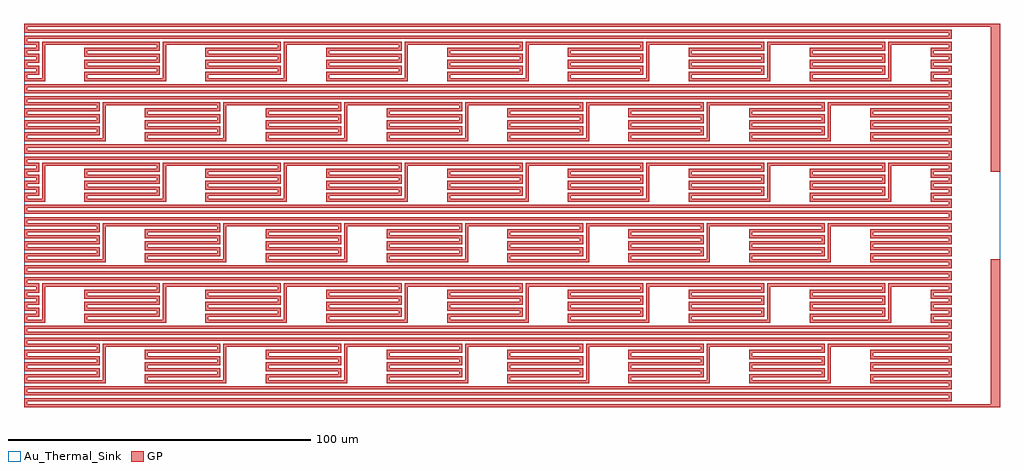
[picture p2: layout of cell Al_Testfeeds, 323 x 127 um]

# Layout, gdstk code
import gdstk
lib = gdstk.Library(unit=1e-6, precision=1e-09)
def R(c, l, rs):  # rectangles x0, y0, x1, y1
    for r in rs: c.add(gdstk.rectangle(r[:2], r[2:], *l))
def P(c, l, *ps):  # polygons
    for p in ps: c.add(gdstk.Polygon(p, *l))
GP = (3, 0)
Au_Thermal_Sink = (12, 0)

al_testfeeds = lib.new_cell('Al_Testfeeds')
R(al_testfeeds, GP, [(172.523,-65.798,190.523,-64.798), (187.523,-65.298,190.523,-16.798), (187.523,12.202,190.523,60.702), (172.523,60.202,190.523,61.202)])
P(al_testfeeds, GP, [(-132.477,-65.798),(-132.477,-62.798),(173.523,-62.798),(173.523,-61.798),(-132.477,-61.798),(-132.477,-58.798),(173.523,-58.798),(173.523,-57.798),(147.523,-57.798),(147.523,-54.798),(173.523,-54.798),(173.523,-53.798),(147.523,-53.798),(147.523,-50.798),(173.523,-50.798),(173.523,-49.798),(147.523,-49.798),(147.523,-46.798),(173.523,-46.798),(173.523,-45.798),(134.523,-45.798),(134.523,-57.798),(107.523,-57.798),(107.523,-54.798),(131.523,-54.798),(131.523,-53.798),(107.523,-53.798),(107.523,-50.798),(131.523,-50.798),(131.523,-49.798),(107.523,-49.798),(107.523,-46.798),(131.523,-46.798),(131.523,-45.798),(94.523,-45.798),(94.523,-57.798),(67.523,-57.798),(67.523,-54.798),(91.523,-54.798),(91.523,-53.798),(67.523,-53.798),(67.523,-50.798),(91.523,-50.798),(91.523,-49.798),(67.523,-49.798),(67.523,-46.798),(91.523,-46.798),(91.523,-45.798),(54.523,-45.798),(54.523,-57.798),(27.523,-57.798),(27.523,-54.798),(51.523,-54.798),(51.523,-53.798),(27.523,-53.798),(27.523,-50.798),(51.523,-50.798),(51.523,-49.798),(27.523,-49.798),(27.523,-46.798),(51.523,-46.798),(51.523,-45.798),(14.523,-45.798),(14.523,-57.798),(-12.477,-57.798),(-12.477,-54.798),(11.523,-54.798),(11.523,-53.798),(-12.477,-53.798),(-12.477,-50.798),(11.523,-50.798),(11.523,-49.798),(-12.477,-49.798),(-12.477,-46.798),(11.523,-46.798),(11.523,-45.798),(-25.477,-45.798),(-25.477,-57.798),(-52.477,-57.798),(-52.477,-54.798),(-28.477,-54.798),(-28.477,-53.798),(-52.477,-53.798),(-52.477,-50.798),(-28.477,-50.798),(-28.477,-49.798),(-52.477,-49.798),(-52.477,-46.798),(-28.477,-46.798),(-28.477,-45.798),(-65.477,-45.798),(-65.477,-57.798),(-92.477,-57.798),(-92.477,-54.798),(-68.477,-54.798),(-68.477,-53.798),(-92.477,-53.798),(-92.477,-50.798),(-68.477,-50.798),(-68.477,-49.798),(-92.477,-49.798),(-92.477,-46.798),(-68.477,-46.798),(-68.477,-45.798),(-105.477,-45.798),(-105.477,-57.798),(-132.477,-57.798),(-132.477,-54.798),(-108.477,-54.798),(-108.477,-53.798),(-132.477,-53.798),(-132.477,-50.798),(-108.477,-50.798),(-108.477,-49.798),(-132.477,-49.798),(-132.477,-46.798),(-108.477,-46.798),(-108.477,-45.798),(-132.477,-45.798),(-132.477,-42.798),(173.523,-42.798),(173.523,-41.798),(-132.477,-41.798),(-132.477,-38.798),(173.523,-38.798),(173.523,-37.798),(167.523,-37.798),(167.523,-34.798),(173.523,-34.798),(173.523,-33.798),(167.523,-33.798),(167.523,-30.798),(173.523,-30.798),(173.523,-29.798),(167.523,-29.798),(167.523,-26.798),(173.523,-26.798),(173.523,-25.798),(154.523,-25.798),(154.523,-37.798),(127.523,-37.798),(127.523,-34.798),(151.523,-34.798),(151.523,-33.798),(127.523,-33.798),(127.523,-30.798),(151.523,-30.798),(151.523,-29.798),(127.523,-29.798),(127.523,-26.798),(151.523,-26.798),(151.523,-25.798),(114.523,-25.798),(114.523,-37.798),(87.523,-37.798),(87.523,-34.798),(111.523,-34.798),(111.523,-33.798),(87.523,-33.798),(87.523,-30.798),(111.523,-30.798),(111.523,-29.798),(87.523,-29.798),(87.523,-26.798),(111.523,-26.798),(111.523,-25.798),(74.523,-25.798),(74.523,-37.798),(47.523,-37.798),(47.523,-34.798),(71.523,-34.798),(71.523,-33.798),(47.523,-33.798),(47.523,-30.798),(71.523,-30.798),(71.523,-29.798),(47.523,-29.798),(47.523,-26.798),(71.523,-26.798),(71.523,-25.798),(34.523,-25.798),(34.523,-37.798),(7.523,-37.798),(7.523,-34.798),(31.523,-34.798),(31.523,-33.798),(7.523,-33.798),(7.523,-30.798),(31.523,-30.798),(31.523,-29.798),(7.523,-29.798),(7.523,-26.798),(31.523,-26.798),(31.523,-25.798),(-5.477,-25.798),(-5.477,-37.798),(-32.477,-37.798),(-32.477,-34.798),(-8.477,-34.798),(-8.477,-33.798),(-32.477,-33.798),(-32.477,-30.798),(-8.477,-30.798),(-8.477,-29.798),(-32.477,-29.798),(-32.477,-26.798),(-8.477,-26.798),(-8.477,-25.798),(-45.477,-25.798),(-45.477,-37.798),(-72.477,-37.798),(-72.477,-34.798),(-48.477,-34.798),(-48.477,-33.798),(-72.477,-33.798),(-72.477,-30.798),(-48.477,-30.798),(-48.477,-29.798),(-72.477,-29.798),(-72.477,-26.798),(-48.477,-26.798),(-48.477,-25.798),(-85.477,-25.798),(-85.477,-37.798),(-112.477,-37.798),(-112.477,-34.798),(-88.477,-34.798),(-88.477,-33.798),(-112.477,-33.798),(-112.477,-30.798),(-88.477,-30.798),(-88.477,-29.798),(-112.477,-29.798),(-112.477,-26.798),(-88.477,-26.798),(-88.477,-25.798),(-125.477,-25.798),(-125.477,-37.798),(-132.477,-37.798),(-132.477,-34.798),(-128.477,-34.798),(-128.477,-33.798),(-132.477,-33.798),(-132.477,-30.798),(-128.477,-30.798),(-128.477,-29.798),(-132.477,-29.798),(-132.477,-26.798),(-128.477,-26.798),(-128.477,-25.798),(-132.477,-25.798),(-132.477,-22.798),(173.523,-22.798),(173.523,-21.798),(-132.477,-21.798),(-132.477,-18.798),(173.523,-18.798),(173.523,-17.798),(147.523,-17.798),(147.523,-14.798),(173.523,-14.798),(173.523,-13.798),(147.523,-13.798),(147.523,-10.798),(173.523,-10.798),(173.523,-9.798),(147.523,-9.798),(147.523,-6.798),(173.523,-6.798),(173.523,-5.798),(134.523,-5.798),(134.523,-17.798),(107.523,-17.798),(107.523,-14.798),(131.523,-14.798),(131.523,-13.798),(107.523,-13.798),(107.523,-10.798),(131.523,-10.798),(131.523,-9.798),(107.523,-9.798),(107.523,-6.798),(131.523,-6.798),(131.523,-5.798),(94.523,-5.798),(94.523,-17.798),(67.523,-17.798),(67.523,-14.798),(91.523,-14.798),(91.523,-13.798),(67.523,-13.798),(67.523,-10.798),(91.523,-10.798),(91.523,-9.798),(67.523,-9.798),(67.523,-6.798),(91.523,-6.798),(91.523,-5.798),(54.523,-5.798),(54.523,-17.798),(27.523,-17.798),(27.523,-14.798),(51.523,-14.798),(51.523,-13.798),(27.523,-13.798),(27.523,-10.798),(51.523,-10.798),(51.523,-9.798),(27.523,-9.798),(27.523,-6.798),(51.523,-6.798),(51.523,-5.798),(14.523,-5.798),(14.523,-17.798),(-12.477,-17.798),(-12.477,-14.798),(11.523,-14.798),(11.523,-13.798),(-12.477,-13.798),(-12.477,-10.798),(11.523,-10.798),(11.523,-9.798),(-12.477,-9.798),(-12.477,-6.798),(11.523,-6.798),(11.523,-5.798),(-25.477,-5.798),(-25.477,-17.798),(-52.477,-17.798),(-52.477,-14.798),(-28.477,-14.798),(-28.477,-13.798),(-52.477,-13.798),(-52.477,-10.798),(-28.477,-10.798),(-28.477,-9.798),(-52.477,-9.798),(-52.477,-6.798),(-28.477,-6.798),(-28.477,-5.798),(-65.477,-5.798),(-65.477,-17.798),(-92.477,-17.798),(-92.477,-14.798),(-68.477,-14.798),(-68.477,-13.798),(-92.477,-13.798),(-92.477,-10.798),(-68.477,-10.798),(-68.477,-9.798),(-92.477,-9.798),(-92.477,-6.798),(-68.477,-6.798),(-68.477,-5.798),(-105.477,-5.798),(-105.477,-17.798),(-132.477,-17.798),(-132.477,-14.798),(-108.477,-14.798),(-108.477,-13.798),(-132.477,-13.798),(-132.477,-10.798),(-108.477,-10.798),(-108.477,-9.798),(-132.477,-9.798),(-132.477,-6.798),(-108.477,-6.798),(-108.477,-5.798),(-132.477,-5.798),(-132.477,-2.798),(173.523,-2.798),(173.523,-1.798),(-132.477,-1.798),(-132.477,1.202),(173.523,1.202),(173.523,2.202),(167.523,2.202),(167.523,5.202),(173.523,5.202),(173.523,6.202),(167.523,6.202),(167.523,9.202),(173.523,9.202),(173.523,10.202),(167.523,10.202),(167.523,13.202),(173.523,13.202),(173.523,14.202),(154.523,14.202),(154.523,2.202),(127.523,2.202),(127.523,5.202),(151.523,5.202),(151.523,6.202),(127.523,6.202),(127.523,9.202),(151.523,9.202),(151.523,10.202),(127.523,10.202),(127.523,13.202),(151.523,13.202),(151.523,14.202),(114.523,14.202),(114.523,2.202),(87.523,2.202),(87.523,5.202),(111.523,5.202),(111.523,6.202),(87.523,6.202),(87.523,9.202),(111.523,9.202),(111.523,10.202),(87.523,10.202),(87.523,13.202),(111.523,13.202),(111.523,14.202),(74.523,14.202),(74.523,2.202),(47.523,2.202),(47.523,5.202),(71.523,5.202),(71.523,6.202),(47.523,6.202),(47.523,9.202),(71.523,9.202),(71.523,10.202),(47.523,10.202),(47.523,13.202),(71.523,13.202),(71.523,14.202),(34.523,14.202),(34.523,2.202),(7.523,2.202),(7.523,5.202),(31.523,5.202),(31.523,6.202),(7.523,6.202),(7.523,9.202),(31.523,9.202),(31.523,10.202),(7.523,10.202),(7.523,13.202),(31.523,13.202),(31.523,14.202),(-5.477,14.202),(-5.477,2.202),(-32.477,2.202),(-32.477,5.202),(-8.477,5.202),(-8.477,6.202),(-32.477,6.202),(-32.477,9.202),(-8.477,9.202),(-8.477,10.202),(-32.477,10.202),(-32.477,13.202),(-8.477,13.202),(-8.477,14.202),(-45.477,14.202),(-45.477,2.202),(-72.477,2.202),(-72.477,5.202),(-48.477,5.202),(-48.477,6.202),(-72.477,6.202),(-72.477,9.202),(-48.477,9.202),(-48.477,10.202),(-72.477,10.202),(-72.477,13.202),(-48.477,13.202),(-48.477,14.202),(-85.477,14.202),(-85.477,2.202),(-112.477,2.202),(-112.477,5.202),(-88.477,5.202),(-88.477,6.202),(-112.477,6.202),(-112.477,9.202),(-88.477,9.202),(-88.477,10.202),(-112.477,10.202),(-112.477,13.202),(-88.477,13.202),(-88.477,14.202),(-125.477,14.202),(-125.477,2.202),(-132.477,2.202),(-132.477,5.202),(-128.477,5.202),(-128.477,6.202),(-132.477,6.202),(-132.477,9.202),(-128.477,9.202),(-128.477,10.202),(-132.477,10.202),(-132.477,13.202),(-128.477,13.202),(-128.477,14.202),(-132.477,14.202),(-132.477,17.202),(173.523,17.202),(173.523,18.202),(-132.477,18.202),(-132.477,21.202),(173.523,21.202),(173.523,22.202),(147.523,22.202),(147.523,25.202),(173.523,25.202),(173.523,26.202),(147.523,26.202),(147.523,29.202),(173.523,29.202),(173.523,30.202),(147.523,30.202),(147.523,33.202),(173.523,33.202),(173.523,34.202),(134.523,34.202),(134.523,22.202),(107.523,22.202),(107.523,25.202),(131.523,25.202),(131.523,26.202),(107.523,26.202),(107.523,29.202),(131.523,29.202),(131.523,30.202),(107.523,30.202),(107.523,33.202),(131.523,33.202),(131.523,34.202),(94.523,34.202),(94.523,22.202),(67.523,22.202),(67.523,25.202),(91.523,25.202),(91.523,26.202),(67.523,26.202),(67.523,29.202),(91.523,29.202),(91.523,30.202),(67.523,30.202),(67.523,33.202),(91.523,33.202),(91.523,34.202),(54.523,34.202),(54.523,22.202),(27.523,22.202),(27.523,25.202),(51.523,25.202),(51.523,26.202),(27.523,26.202),(27.523,29.202),(51.523,29.202),(51.523,30.202),(27.523,30.202),(27.523,33.202),(51.523,33.202),(51.523,34.202),(14.523,34.202),(14.523,22.202),(-12.477,22.202),(-12.477,25.202),(11.523,25.202),(11.523,26.202),(-12.477,26.202),(-12.477,29.202),(11.523,29.202),(11.523,30.202),(-12.477,30.202),(-12.477,33.202),(11.523,33.202),(11.523,34.202),(-25.477,34.202),(-25.477,22.202),(-52.477,22.202),(-52.477,25.202),(-28.477,25.202),(-28.477,26.202),(-52.477,26.202),(-52.477,29.202),(-28.477,29.202),(-28.477,30.202),(-52.477,30.202),(-52.477,33.202),(-28.477,33.202),(-28.477,34.202),(-65.477,34.202),(-65.477,22.202),(-92.477,22.202),(-92.477,25.202),(-68.477,25.202),(-68.477,26.202),(-92.477,26.202),(-92.477,29.202),(-68.477,29.202),(-68.477,30.202),(-92.477,30.202),(-92.477,33.202),(-68.477,33.202),(-68.477,34.202),(-105.477,34.202),(-105.477,22.202),(-132.477,22.202),(-132.477,25.202),(-108.477,25.202),(-108.477,26.202),(-132.477,26.202),(-132.477,29.202),(-108.477,29.202),(-108.477,30.202),(-132.477,30.202),(-132.477,33.202),(-108.477,33.202),(-108.477,34.202),(-132.477,34.202),(-132.477,37.202),(173.523,37.202),(173.523,38.202),(-132.477,38.202),(-132.477,41.202),(173.523,41.202),(173.523,42.202),(167.523,42.202),(167.523,45.202),(173.523,45.202),(173.523,46.202),(167.523,46.202),(167.523,49.202),(173.523,49.202),(173.523,50.202),(167.523,50.202),(167.523,53.202),(173.523,53.202),(173.523,54.202),(154.523,54.202),(154.523,42.202),(127.523,42.202),(127.523,45.202),(151.523,45.202),(151.523,46.202),(127.523,46.202),(127.523,49.202),(151.523,49.202),(151.523,50.202),(127.523,50.202),(127.523,53.202),(151.523,53.202),(151.523,54.202),(114.523,54.202),(114.523,42.202),(87.523,42.202),(87.523,45.202),(111.523,45.202),(111.523,46.202),(87.523,46.202),(87.523,49.202),(111.523,49.202),(111.523,50.202),(87.523,50.202),(87.523,53.202),(111.523,53.202),(111.523,54.202),(74.523,54.202),(74.523,42.202),(47.523,42.202),(47.523,45.202),(71.523,45.202),(71.523,46.202),(47.523,46.202),(47.523,49.202),(71.523,49.202),(71.523,50.202),(47.523,50.202),(47.523,53.202),(71.523,53.202),(71.523,54.202),(34.523,54.202),(34.523,42.202),(7.523,42.202),(7.523,45.202),(31.523,45.202),(31.523,46.202),(7.523,46.202),(7.523,49.202),(31.523,49.202),(31.523,50.202),(7.523,50.202),(7.523,53.202),(31.523,53.202),(31.523,54.202),(-5.477,54.202),(-5.477,42.202),(-32.477,42.202),(-32.477,45.202),(-8.477,45.202),(-8.477,46.202),(-32.477,46.202),(-32.477,49.202),(-8.477,49.202),(-8.477,50.202),(-32.477,50.202),(-32.477,53.202),(-8.477,53.202),(-8.477,54.202),(-45.477,54.202),(-45.477,42.202),(-72.477,42.202),(-72.477,45.202),(-48.477,45.202),(-48.477,46.202),(-72.477,46.202),(-72.477,49.202),(-48.477,49.202),(-48.477,50.202),(-72.477,50.202),(-72.477,53.202),(-48.477,53.202),(-48.477,54.202),(-85.477,54.202),(-85.477,42.202),(-112.477,42.202),(-112.477,45.202),(-88.477,45.202),(-88.477,46.202),(-112.477,46.202),(-112.477,49.202),(-88.477,49.202),(-88.477,50.202),(-112.477,50.202),(-112.477,53.202),(-88.477,53.202),(-88.477,54.202),(-125.477,54.202),(-125.477,42.202),(-132.477,42.202),(-132.477,45.202),(-128.477,45.202),(-128.477,46.202),(-132.477,46.202),(-132.477,49.202),(-128.477,49.202),(-128.477,50.202),(-132.477,50.202),(-132.477,53.202),(-128.477,53.202),(-128.477,54.202),(-132.477,54.202),(-132.477,57.202),(173.523,57.202),(173.523,58.202),(-132.477,58.202),(-132.477,61.202),(174.523,61.202),(174.523,60.202),(-131.477,60.202),(-131.477,59.202),(174.523,59.202),(174.523,56.202),(-131.477,56.202),(-131.477,55.202),(-127.477,55.202),(-127.477,52.202),(-131.477,52.202),(-131.477,51.202),(-127.477,51.202),(-127.477,48.202),(-131.477,48.202),(-131.477,47.202),(-127.477,47.202),(-127.477,44.202),(-131.477,44.202),(-131.477,43.202),(-126.477,43.202),(-126.477,55.202),(-87.477,55.202),(-87.477,52.202),(-111.477,52.202),(-111.477,51.202),(-87.477,51.202),(-87.477,48.202),(-111.477,48.202),(-111.477,47.202),(-87.477,47.202),(-87.477,44.202),(-111.477,44.202),(-111.477,43.202),(-86.477,43.202),(-86.477,55.202),(-47.477,55.202),(-47.477,52.202),(-71.477,52.202),(-71.477,51.202),(-47.477,51.202),(-47.477,48.202),(-71.477,48.202),(-71.477,47.202),(-47.477,47.202),(-47.477,44.202),(-71.477,44.202),(-71.477,43.202),(-46.477,43.202),(-46.477,55.202),(-7.477,55.202),(-7.477,52.202),(-31.477,52.202),(-31.477,51.202),(-7.477,51.202),(-7.477,48.202),(-31.477,48.202),(-31.477,47.202),(-7.477,47.202),(-7.477,44.202),(-31.477,44.202),(-31.477,43.202),(-6.477,43.202),(-6.477,55.202),(32.523,55.202),(32.523,52.202),(8.523,52.202),(8.523,51.202),(32.523,51.202),(32.523,48.202),(8.523,48.202),(8.523,47.202),(32.523,47.202),(32.523,44.202),(8.523,44.202),(8.523,43.202),(33.523,43.202),(33.523,55.202),(72.523,55.202),(72.523,52.202),(48.523,52.202),(48.523,51.202),(72.523,51.202),(72.523,48.202),(48.523,48.202),(48.523,47.202),(72.523,47.202),(72.523,44.202),(48.523,44.202),(48.523,43.202),(73.523,43.202),(73.523,55.202),(112.523,55.202),(112.523,52.202),(88.523,52.202),(88.523,51.202),(112.523,51.202),(112.523,48.202),(88.523,48.202),(88.523,47.202),(112.523,47.202),(112.523,44.202),(88.523,44.202),(88.523,43.202),(113.523,43.202),(113.523,55.202),(152.523,55.202),(152.523,52.202),(128.523,52.202),(128.523,51.202),(152.523,51.202),(152.523,48.202),(128.523,48.202),(128.523,47.202),(152.523,47.202),(152.523,44.202),(128.523,44.202),(128.523,43.202),(153.523,43.202),(153.523,55.202),(174.523,55.202),(174.523,52.202),(168.523,52.202),(168.523,51.202),(174.523,51.202),(174.523,48.202),(168.523,48.202),(168.523,47.202),(174.523,47.202),(174.523,44.202),(168.523,44.202),(168.523,43.202),(174.523,43.202),(174.523,40.202),(-131.477,40.202),(-131.477,39.202),(174.523,39.202),(174.523,36.202),(-131.477,36.202),(-131.477,35.202),(-107.477,35.202),(-107.477,32.202),(-131.477,32.202),(-131.477,31.202),(-107.477,31.202),(-107.477,28.202),(-131.477,28.202),(-131.477,27.202),(-107.477,27.202),(-107.477,24.202),(-131.477,24.202),(-131.477,23.202),(-106.477,23.202),(-106.477,35.202),(-67.477,35.202),(-67.477,32.202),(-91.477,32.202),(-91.477,31.202),(-67.477,31.202),(-67.477,28.202),(-91.477,28.202),(-91.477,27.202),(-67.477,27.202),(-67.477,24.202),(-91.477,24.202),(-91.477,23.202),(-66.477,23.202),(-66.477,35.202),(-27.477,35.202),(-27.477,32.202),(-51.477,32.202),(-51.477,31.202),(-27.477,31.202),(-27.477,28.202),(-51.477,28.202),(-51.477,27.202),(-27.477,27.202),(-27.477,24.202),(-51.477,24.202),(-51.477,23.202),(-26.477,23.202),(-26.477,35.202),(12.523,35.202),(12.523,32.202),(-11.477,32.202),(-11.477,31.202),(12.523,31.202),(12.523,28.202),(-11.477,28.202),(-11.477,27.202),(12.523,27.202),(12.523,24.202),(-11.477,24.202),(-11.477,23.202),(13.523,23.202),(13.523,35.202),(52.523,35.202),(52.523,32.202),(28.523,32.202),(28.523,31.202),(52.523,31.202),(52.523,28.202),(28.523,28.202),(28.523,27.202),(52.523,27.202),(52.523,24.202),(28.523,24.202),(28.523,23.202),(53.523,23.202),(53.523,35.202),(92.523,35.202),(92.523,32.202),(68.523,32.202),(68.523,31.202),(92.523,31.202),(92.523,28.202),(68.523,28.202),(68.523,27.202),(92.523,27.202),(92.523,24.202),(68.523,24.202),(68.523,23.202),(93.523,23.202),(93.523,35.202),(132.523,35.202),(132.523,32.202),(108.523,32.202),(108.523,31.202),(132.523,31.202),(132.523,28.202),(108.523,28.202),(108.523,27.202),(132.523,27.202),(132.523,24.202),(108.523,24.202),(108.523,23.202),(133.523,23.202),(133.523,35.202),(174.523,35.202),(174.523,32.202),(148.523,32.202),(148.523,31.202),(174.523,31.202),(174.523,28.202),(148.523,28.202),(148.523,27.202),(174.523,27.202),(174.523,24.202),(148.523,24.202),(148.523,23.202),(174.523,23.202),(174.523,20.202),(-131.477,20.202),(-131.477,19.202),(174.523,19.202),(174.523,16.202),(-131.477,16.202),(-131.477,15.202),(-127.477,15.202),(-127.477,12.202),(-131.477,12.202),(-131.477,11.202),(-127.477,11.202),(-127.477,8.202),(-131.477,8.202),(-131.477,7.202),(-127.477,7.202),(-127.477,4.202),(-131.477,4.202),(-131.477,3.202),(-126.477,3.202),(-126.477,15.202),(-87.477,15.202),(-87.477,12.202),(-111.477,12.202),(-111.477,11.202),(-87.477,11.202),(-87.477,8.202),(-111.477,8.202),(-111.477,7.202),(-87.477,7.202),(-87.477,4.202),(-111.477,4.202),(-111.477,3.202),(-86.477,3.202),(-86.477,15.202),(-47.477,15.202),(-47.477,12.202),(-71.477,12.202),(-71.477,11.202),(-47.477,11.202),(-47.477,8.202),(-71.477,8.202),(-71.477,7.202),(-47.477,7.202),(-47.477,4.202),(-71.477,4.202),(-71.477,3.202),(-46.477,3.202),(-46.477,15.202),(-7.477,15.202),(-7.477,12.202),(-31.477,12.202),(-31.477,11.202),(-7.477,11.202),(-7.477,8.202),(-31.477,8.202),(-31.477,7.202),(-7.477,7.202),(-7.477,4.202),(-31.477,4.202),(-31.477,3.202),(-6.477,3.202),(-6.477,15.202),(32.523,15.202),(32.523,12.202),(8.523,12.202),(8.523,11.202),(32.523,11.202),(32.523,8.202),(8.523,8.202),(8.523,7.202),(32.523,7.202),(32.523,4.202),(8.523,4.202),(8.523,3.202),(33.523,3.202),(33.523,15.202),(72.523,15.202),(72.523,12.202),(48.523,12.202),(48.523,11.202),(72.523,11.202),(72.523,8.202),(48.523,8.202),(48.523,7.202),(72.523,7.202),(72.523,4.202),(48.523,4.202),(48.523,3.202),(73.523,3.202),(73.523,15.202),(112.523,15.202),(112.523,12.202),(88.523,12.202),(88.523,11.202),(112.523,11.202),(112.523,8.202),(88.523,8.202),(88.523,7.202),(112.523,7.202),(112.523,4.202),(88.523,4.202),(88.523,3.202),(113.523,3.202),(113.523,15.202),(152.523,15.202),(152.523,12.202),(128.523,12.202),(128.523,11.202),(152.523,11.202),(152.523,8.202),(128.523,8.202),(128.523,7.202),(152.523,7.202),(152.523,4.202),(128.523,4.202),(128.523,3.202),(153.523,3.202),(153.523,15.202),(174.523,15.202),(174.523,12.202),(168.523,12.202),(168.523,11.202),(174.523,11.202),(174.523,8.202),(168.523,8.202),(168.523,7.202),(174.523,7.202),(174.523,4.202),(168.523,4.202),(168.523,3.202),(174.523,3.202),(174.523,0.202),(-131.477,0.202),(-131.477,-0.798),(174.523,-0.798),(174.523,-3.798),(-131.477,-3.798),(-131.477,-4.798),(-107.477,-4.798),(-107.477,-7.798),(-131.477,-7.798),(-131.477,-8.798),(-107.477,-8.798),(-107.477,-11.798),(-131.477,-11.798),(-131.477,-12.798),(-107.477,-12.798),(-107.477,-15.798),(-131.477,-15.798),(-131.477,-16.798),(-106.477,-16.798),(-106.477,-4.798),(-67.477,-4.798),(-67.477,-7.798),(-91.477,-7.798),(-91.477,-8.798),(-67.477,-8.798),(-67.477,-11.798),(-91.477,-11.798),(-91.477,-12.798),(-67.477,-12.798),(-67.477,-15.798),(-91.477,-15.798),(-91.477,-16.798),(-66.477,-16.798),(-66.477,-4.798),(-27.477,-4.798),(-27.477,-7.798),(-51.477,-7.798),(-51.477,-8.798),(-27.477,-8.798),(-27.477,-11.798),(-51.477,-11.798),(-51.477,-12.798),(-27.477,-12.798),(-27.477,-15.798),(-51.477,-15.798),(-51.477,-16.798),(-26.477,-16.798),(-26.477,-4.798),(12.523,-4.798),(12.523,-7.798),(-11.477,-7.798),(-11.477,-8.798),(12.523,-8.798),(12.523,-11.798),(-11.477,-11.798),(-11.477,-12.798),(12.523,-12.798),(12.523,-15.798),(-11.477,-15.798),(-11.477,-16.798),(13.523,-16.798),(13.523,-4.798),(52.523,-4.798),(52.523,-7.798),(28.523,-7.798),(28.523,-8.798),(52.523,-8.798),(52.523,-11.798),(28.523,-11.798),(28.523,-12.798),(52.523,-12.798),(52.523,-15.798),(28.523,-15.798),(28.523,-16.798),(53.523,-16.798),(53.523,-4.798),(92.523,-4.798),(92.523,-7.798),(68.523,-7.798),(68.523,-8.798),(92.523,-8.798),(92.523,-11.798),(68.523,-11.798),(68.523,-12.798),(92.523,-12.798),(92.523,-15.798),(68.523,-15.798),(68.523,-16.798),(93.523,-16.798),(93.523,-4.798),(132.523,-4.798),(132.523,-7.798),(108.523,-7.798),(108.523,-8.798),(132.523,-8.798),(132.523,-11.798),(108.523,-11.798),(108.523,-12.798),(132.523,-12.798),(132.523,-15.798),(108.523,-15.798),(108.523,-16.798),(133.523,-16.798),(133.523,-4.798),(174.523,-4.798),(174.523,-7.798),(148.523,-7.798),(148.523,-8.798),(174.523,-8.798),(174.523,-11.798),(148.523,-11.798),(148.523,-12.798),(174.523,-12.798),(174.523,-15.798),(148.523,-15.798),(148.523,-16.798),(174.523,-16.798),(174.523,-19.798),(-131.477,-19.798),(-131.477,-20.798),(174.523,-20.798),(174.523,-23.798),(-131.477,-23.798),(-131.477,-24.798),(-127.477,-24.798),(-127.477,-27.798),(-131.477,-27.798),(-131.477,-28.798),(-127.477,-28.798),(-127.477,-31.798),(-131.477,-31.798),(-131.477,-32.798),(-127.477,-32.798),(-127.477,-35.798),(-131.477,-35.798),(-131.477,-36.798),(-126.477,-36.798),(-126.477,-24.798),(-87.477,-24.798),(-87.477,-27.798),(-111.477,-27.798),(-111.477,-28.798),(-87.477,-28.798),(-87.477,-31.798),(-111.477,-31.798),(-111.477,-32.798),(-87.477,-32.798),(-87.477,-35.798),(-111.477,-35.798),(-111.477,-36.798),(-86.477,-36.798),(-86.477,-24.798),(-47.477,-24.798),(-47.477,-27.798),(-71.477,-27.798),(-71.477,-28.798),(-47.477,-28.798),(-47.477,-31.798),(-71.477,-31.798),(-71.477,-32.798),(-47.477,-32.798),(-47.477,-35.798),(-71.477,-35.798),(-71.477,-36.798),(-46.477,-36.798),(-46.477,-24.798),(-7.477,-24.798),(-7.477,-27.798),(-31.477,-27.798),(-31.477,-28.798),(-7.477,-28.798),(-7.477,-31.798),(-31.477,-31.798),(-31.477,-32.798),(-7.477,-32.798),(-7.477,-35.798),(-31.477,-35.798),(-31.477,-36.798),(-6.477,-36.798),(-6.477,-24.798),(32.523,-24.798),(32.523,-27.798),(8.523,-27.798),(8.523,-28.798),(32.523,-28.798),(32.523,-31.798),(8.523,-31.798),(8.523,-32.798),(32.523,-32.798),(32.523,-35.798),(8.523,-35.798),(8.523,-36.798),(33.523,-36.798),(33.523,-24.798),(72.523,-24.798),(72.523,-27.798),(48.523,-27.798),(48.523,-28.798),(72.523,-28.798),(72.523,-31.798),(48.523,-31.798),(48.523,-32.798),(72.523,-32.798),(72.523,-35.798),(48.523,-35.798),(48.523,-36.798),(73.523,-36.798),(73.523,-24.798),(112.523,-24.798),(112.523,-27.798),(88.523,-27.798),(88.523,-28.798),(112.523,-28.798),(112.523,-31.798),(88.523,-31.798),(88.523,-32.798),(112.523,-32.798),(112.523,-35.798),(88.523,-35.798),(88.523,-36.798),(113.523,-36.798),(113.523,-24.798),(152.523,-24.798),(152.523,-27.798),(128.523,-27.798),(128.523,-28.798),(152.523,-28.798),(152.523,-31.798),(128.523,-31.798),(128.523,-32.798),(152.523,-32.798),(152.523,-35.798),(128.523,-35.798),(128.523,-36.798),(153.523,-36.798),(153.523,-24.798),(174.523,-24.798),(174.523,-27.798),(168.523,-27.798),(168.523,-28.798),(174.523,-28.798),(174.523,-31.798),(168.523,-31.798),(168.523,-32.798),(174.523,-32.798),(174.523,-35.798),(168.523,-35.798),(168.523,-36.798),(174.523,-36.798),(174.523,-39.798),(-131.477,-39.798),(-131.477,-40.798),(174.523,-40.798),(174.523,-43.798),(-131.477,-43.798),(-131.477,-44.798),(-107.477,-44.798),(-107.477,-47.798),(-131.477,-47.798),(-131.477,-48.798),(-107.477,-48.798),(-107.477,-51.798),(-131.477,-51.798),(-131.477,-52.798),(-107.477,-52.798),(-107.477,-55.798),(-131.477,-55.798),(-131.477,-56.798),(-106.477,-56.798),(-106.477,-44.798),(-67.477,-44.798),(-67.477,-47.798),(-91.477,-47.798),(-91.477,-48.798),(-67.477,-48.798),(-67.477,-51.798),(-91.477,-51.798),(-91.477,-52.798),(-67.477,-52.798),(-67.477,-55.798),(-91.477,-55.798),(-91.477,-56.798),(-66.477,-56.798),(-66.477,-44.798),(-27.477,-44.798),(-27.477,-47.798),(-51.477,-47.798),(-51.477,-48.798),(-27.477,-48.798),(-27.477,-51.798),(-51.477,-51.798),(-51.477,-52.798),(-27.477,-52.798),(-27.477,-55.798),(-51.477,-55.798),(-51.477,-56.798),(-26.477,-56.798),(-26.477,-44.798),(12.523,-44.798),(12.523,-47.798),(-11.477,-47.798),(-11.477,-48.798),(12.523,-48.798),(12.523,-51.798),(-11.477,-51.798),(-11.477,-52.798),(12.523,-52.798),(12.523,-55.798),(-11.477,-55.798),(-11.477,-56.798),(13.523,-56.798),(13.523,-44.798),(52.523,-44.798),(52.523,-47.798),(28.523,-47.798),(28.523,-48.798),(52.523,-48.798),(52.523,-51.798),(28.523,-51.798),(28.523,-52.798),(52.523,-52.798),(52.523,-55.798),(28.523,-55.798),(28.523,-56.798),(53.523,-56.798),(53.523,-44.798),(92.523,-44.798),(92.523,-47.798),(68.523,-47.798),(68.523,-48.798),(92.523,-48.798),(92.523,-51.798),(68.523,-51.798),(68.523,-52.798),(92.523,-52.798),(92.523,-55.798),(68.523,-55.798),(68.523,-56.798),(93.523,-56.798),(93.523,-44.798),(132.523,-44.798),(132.523,-47.798),(108.523,-47.798),(108.523,-48.798),(132.523,-48.798),(132.523,-51.798),(108.523,-51.798),(108.523,-52.798),(132.523,-52.798),(132.523,-55.798),(108.523,-55.798),(108.523,-56.798),(133.523,-56.798),(133.523,-44.798),(174.523,-44.798),(174.523,-47.798),(148.523,-47.798),(148.523,-48.798),(174.523,-48.798),(174.523,-51.798),(148.523,-51.798),(148.523,-52.798),(174.523,-52.798),(174.523,-55.798),(148.523,-55.798),(148.523,-56.798),(174.523,-56.798),(174.523,-59.798),(-131.477,-59.798),(-131.477,-60.798),(174.523,-60.798),(174.523,-63.798),(-131.477,-63.798),(-131.477,-64.798),(174.523,-64.798),(174.523,-65.798)])
R(al_testfeeds, Au_Thermal_Sink, [(-132.477,-65.798,190.523,61.202)])

lib.write_gds('Al_Testfeeds.gds')
